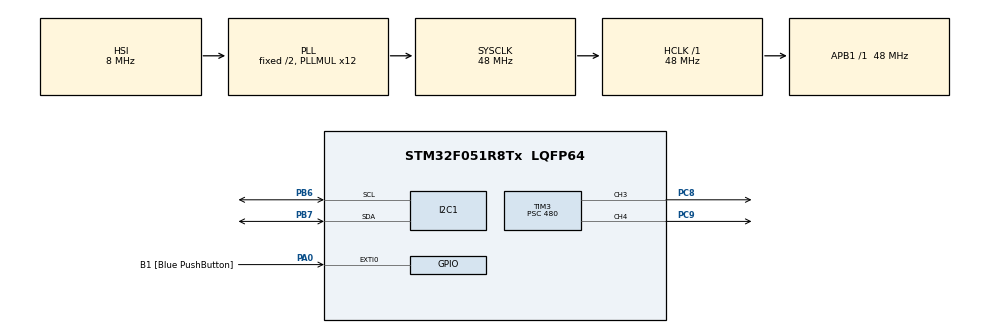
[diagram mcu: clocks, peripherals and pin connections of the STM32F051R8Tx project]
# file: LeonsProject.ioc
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Mcu.Family=STM32F0
Mcu.Name=STM32F051R8Tx
Mcu.Package=LQFP64
NVIC.EXTI0_1_IRQn=true\:0\:0\:false\:false\:true\:true\:true\:true
NVIC.I2C1_IRQn=true\:0\:0\:false\:false\:true\:true\:true\:true
NVIC.TIM14_IRQn=true\:0\:0\:false\:false\:true\:true\:true\:true
NVIC.TIM2_IRQn=true\:0\:0\:false\:false\:true\:true\:true\:true
PA0.GPIO_Label=B1 [Blue PushButton]
PA0.GPIO_ModeDefaultEXTI=GPIO_MODE_IT_RISING
PA0.Signal=GPXTI0
PA14.GPIO_Label=SWCLK
PA14.Signal=SYS_SWCLK
PB6.Mode=I2C
PB6.Signal=I2C1_SCL
PB7.Mode=I2C
PB7.Signal=I2C1_SDA
PC8.Signal=S_TIM3_CH3
PC9.Signal=S_TIM3_CH4
ProjectManager.HeapSize=0x200
ProjectManager.StackSize=0x400
ProjectManager.TargetToolchain=STM32CubeIDE
RCC.AHBFreq_Value=48000000
RCC.APB1Freq_Value=48000000
RCC.APB1TimFreq_Value=48000000
RCC.HCLKFreq_Value=48000000
RCC.PLLMUL=RCC_PLL_MUL12
RCC.SYSCLKFreq_VALUE=48000000
RCC.SYSCLKSource=RCC_SYSCLKSOURCE_PLLCLK
SH.S_TIM3_CH3.0=TIM3_CH3,PWM Generation3 CH3
SH.S_TIM3_CH4.0=TIM3_CH4,PWM Generation4 CH4
TIM14.Period=40
TIM14.Prescaler=48000
TIM2.Channel-Output\ Compare1\ No\ Output=TIM_CHANNEL_1
TIM2.Period=500
TIM2.Prescaler=48000
TIM3.Channel-PWM\ Generation3\ CH3=TIM_CHANNEL_3
TIM3.Channel-PWM\ Generation4\ CH4=TIM_CHANNEL_4
TIM3.Period=1000
TIM3.Prescaler=480
VP_TIM14_VS_ClockSourceINT.Mode=Enable_Timer
VP_TIM2_VS_ClockSourceINT.Mode=Internal
VP_TIM2_VS_no_output1.Mode=Output Compare1 No Output
VP_TIM3_VS_ClockSourceINT.Mode=Internal
board=STM32F0DISCOVERY

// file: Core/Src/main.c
/* USER CODE BEGIN Header */
/**
  ******************************************************************************
  * @file           : main.c
  * @brief          : Main program body
  ******************************************************************************
  * @attention
  *
  * Copyright (c) 2022 STMicroelectronics.
  * All rights reserved.
  *
  * This software is licensed under terms that can be found in the LICENSE file
  * in the root directory of this software component.
  * If no LICENSE file comes with this software, it is provided AS-IS.
  *
  ******************************************************************************
  */
/* USER CODE END Header */
#include "main.h"

/* USER CODE BEGIN Includes */
#include "math.h"
#include "stdio.h"
#include "Sensor_comm.h"
/* USER CODE END Includes */

 I2C_HandleTypeDef hi2c1;

TIM_HandleTypeDef htim2;
TIM_HandleTypeDef htim3;
TIM_HandleTypeDef htim14;

/* USER CODE BEGIN PV */
int16_t Gyro_rawData[3];
int16_t Mag_rawData[3];
//int16_t Mag_rawRefData[3];

DATA_TypeDef Gyro_Data;
DATA_TypeDef Mag_Data;
DATA_TypeDef Mag_RefData;

float phi_0;
float currentangle;
//int8_t arr_len = 10;
float angle_array [10];
float phi;
float phi_N;
int8_t LED_Flash_flag = 0b01;
int8_t Allow_Dim = 0b01;

/* USER CODE END PV */

void SystemClock_Config(void);
static void MX_GPIO_Init(void);
static void MX_I2C1_Init(void);
static void MX_TIM3_Init(void);
static void MX_TIM2_Init(void);
static void MX_TIM14_Init(void);

/* USER CODE BEGIN 0 */

int LED_PWM (DATA_TypeDef *Gyro_Data){

	int min_PWM = 0;
	int max_PWM = 300;
	int DutyCycle = fabs(Gyro_Data->z)/256*(max_PWM-min_PWM);
	float threshold = 0.8;
	int dir=0;

	HAL_TIM_PWM_Stop(&htim3, blue);
	HAL_TIM_PWM_Stop(&htim3, green);

	if (Gyro_Data->z < -threshold){ //Gyro_Data->z > 0 ==> Clockwise Rotation, LD4 (Blue LED) should be on
		  HAL_TIM_PWM_Start(&htim3, blue);
		__HAL_TIM_SET_COMPARE(&htim3, blue, DutyCycle);
		dir = 1;
	}
	else if (Gyro_Data->z > threshold){ //Gyro_Data->z < 0 ==> Counterclockwise Rotation, LD3 (Green LED) should be on
		  HAL_TIM_PWM_Start(&htim3, green);
		__HAL_TIM_SET_COMPARE(&htim3, green, DutyCycle);
		dir = -1;
	}
	return dir;
}

void LED_flash (float angle){
	static int flash_Dutycycle = 200;
	HAL_TIM_PWM_Stop(&htim3, blue);
	HAL_TIM_PWM_Stop(&htim3, green);

	if (angle > 0){
		HAL_TIM_PWM_Start(&htim3, blue); //Angle to zero < 0 ==> Clockwise Deviation from 0, LD4 (Blue LED) should flash
		__HAL_TIM_SET_COMPARE(&htim3, blue, flash_Dutycycle);
	}
	else if (angle < 0){
		HAL_TIM_PWM_Start(&htim3, green); //Angle to zero > 0 ==> Counterclockwise Deviation from 0, LD4 (Green LED) should flash
		__HAL_TIM_SET_COMPARE(&htim3, green, flash_Dutycycle);
	}
}

void HAL_GPIO_EXTI_Callback(uint16_t GPIO_Pin){ // This interrupt handles the push of the blue button
	Mag_RefData=Mag_Data;
	phi_0 = atan2(Mag_RefData.y, Mag_RefData.x)*180/M_PI;
}

void sensor_routine(void){

	read_Sensor_data(Gyro_rawData, GYRO_DEVADDR, Gyro_MSB_X);
	read_Sensor_data(Mag_rawData, MAGACC_DEVADDR, MAG_MSB_X);
	convert_Sensor_Data(Gyro_rawData, &Gyro_Data, Gyro_conv_factor);
	convert_Sensor_Data(Mag_rawData, &Mag_Data, Mag_conv_factor);
	angle_array[0] = atan2(Mag_Data.y, Mag_Data.x)*180.0/M_PI;
}

void sensor_average (void){
	float total = 0;
	size_t arr_len = sizeof(angle_array)/sizeof(angle_array[0]);
	for (int k = arr_len; k > 0 ; k--){
		angle_array[k]=angle_array[k-1];
	}
	for (int i = 1; i < arr_len; i++) {
	    total += angle_array[i];
	}
	phi=total/(arr_len-1); // Averaging out the last 10 Sensor Angle values to reduce noise
}

/* USER CODE END 0 */

int main(void)
{

  /* MCU Configuration--------------------------------------------------------*/

  /* Reset of all peripherals, Initializes the Flash interface and the Systick. */
  HAL_Init();

  /* Configure the system clock */
  SystemClock_Config();

  /* Initialize all configured peripherals */
  MX_GPIO_Init();
  MX_I2C1_Init();
  MX_TIM3_Init();
  MX_TIM2_Init();
  MX_TIM14_Init();
  /* USER CODE BEGIN 2 */

  initialize_Sensors();

  /* USER CODE END 2 */

  /* Infinite loop */
  /* USER CODE BEGIN WHILE */

  HAL_TIM_OC_Start_IT(&htim14, TIM_CHANNEL_1);
  HAL_TIM_OC_Start_IT(&htim2, TIM_CHANNEL_1);

  while (1)
  {
    /* USER CODE END WHILE */

    /* USER CODE BEGIN 3 */
		currentangle = atan2(Mag_Data.y, Mag_Data.x)*180.0/M_PI;
		phi_N = phi - phi_0;
		if (LED_Flash_flag == 0b01 && fabs(phi_N)<5 && fabs(phi_N)>.2){
			LED_flash(phi_N);
		} else if (fabs(phi_N)>5){
			  LED_PWM(&Gyro_Data);
		}
  }
  /* USER CODE END 3 */
}

void SystemClock_Config(void)
{
  RCC_OscInitTypeDef RCC_OscInitStruct = {0};
  RCC_ClkInitTypeDef RCC_ClkInitStruct = {0};
  RCC_PeriphCLKInitTypeDef PeriphClkInit = {0};

  /** Initializes the RCC Oscillators according to the specified parameters
  * in the RCC_OscInitTypeDef structure.
  */
  RCC_OscInitStruct.OscillatorType = RCC_OSCILLATORTYPE_HSI;
  RCC_OscInitStruct.HSIState = RCC_HSI_ON;
  RCC_OscInitStruct.HSICalibrationValue = RCC_HSICALIBRATION_DEFAULT;
  RCC_OscInitStruct.PLL.PLLState = RCC_PLL_ON;
  RCC_OscInitStruct.PLL.PLLSource = RCC_PLLSOURCE_HSI;
  RCC_OscInitStruct.PLL.PLLMUL = RCC_PLL_MUL12;
  RCC_OscInitStruct.PLL.PREDIV = RCC_PREDIV_DIV1;
  if (HAL_RCC_OscConfig(&RCC_OscInitStruct) != HAL_OK)
  {
    Error_Handler();
  }

  /** Initializes the CPU, AHB and APB buses clocks
  */
  RCC_ClkInitStruct.ClockType = RCC_CLOCKTYPE_HCLK|RCC_CLOCKTYPE_SYSCLK
                              |RCC_CLOCKTYPE_PCLK1;
  RCC_ClkInitStruct.SYSCLKSource = RCC_SYSCLKSOURCE_PLLCLK;
  RCC_ClkInitStruct.AHBCLKDivider = RCC_SYSCLK_DIV1;
  RCC_ClkInitStruct.APB1CLKDivider = RCC_HCLK_DIV1;

  if (HAL_RCC_ClockConfig(&RCC_ClkInitStruct, FLASH_LATENCY_1) != HAL_OK)
  {
    Error_Handler();
  }
  PeriphClkInit.PeriphClockSelection = RCC_PERIPHCLK_I2C1;
  PeriphClkInit.I2c1ClockSelection = RCC_I2C1CLKSOURCE_HSI;
  if (HAL_RCCEx_PeriphCLKConfig(&PeriphClkInit) != HAL_OK)
  {
    Error_Handler();
  }
}

static void MX_I2C1_Init(void)
{

  hi2c1.Instance = I2C1;
  hi2c1.Init.Timing = 0x2000090E;
  hi2c1.Init.OwnAddress1 = 0;
  hi2c1.Init.AddressingMode = I2C_ADDRESSINGMODE_7BIT;
  hi2c1.Init.DualAddressMode = I2C_DUALADDRESS_DISABLE;
  hi2c1.Init.OwnAddress2 = 0;
  hi2c1.Init.OwnAddress2Masks = I2C_OA2_NOMASK;
  hi2c1.Init.GeneralCallMode = I2C_GENERALCALL_DISABLE;
  hi2c1.Init.NoStretchMode = I2C_NOSTRETCH_DISABLE;
  if (HAL_I2C_Init(&hi2c1) != HAL_OK)
  {
    Error_Handler();
  }

  /** Configure Analogue filter
  */
  if (HAL_I2CEx_ConfigAnalogFilter(&hi2c1, I2C_ANALOGFILTER_ENABLE) != HAL_OK)
  {
    Error_Handler();
  }

  /** Configure Digital filter
  */
  if (HAL_I2CEx_ConfigDigitalFilter(&hi2c1, 0) != HAL_OK)
  {
    Error_Handler();
  }

}

static void MX_TIM2_Init(void)
{

  TIM_ClockConfigTypeDef sClockSourceConfig = {0};
  TIM_MasterConfigTypeDef sMasterConfig = {0};
  TIM_OC_InitTypeDef sConfigOC = {0};

  htim2.Instance = TIM2;
  htim2.Init.Prescaler = 48000;
  htim2.Init.CounterMode = TIM_COUNTERMODE_UP;
  htim2.Init.Period = 500;
  htim2.Init.ClockDivision = TIM_CLOCKDIVISION_DIV1;
  htim2.Init.AutoReloadPreload = TIM_AUTORELOAD_PRELOAD_DISABLE;
  if (HAL_TIM_Base_Init(&htim2) != HAL_OK)
  {
    Error_Handler();
  }
  sClockSourceConfig.ClockSource = TIM_CLOCKSOURCE_INTERNAL;
  if (HAL_TIM_ConfigClockSource(&htim2, &sClockSourceConfig) != HAL_OK)
  {
    Error_Handler();
  }
  if (HAL_TIM_OC_Init(&htim2) != HAL_OK)
  {
    Error_Handler();
  }
  sMasterConfig.MasterOutputTrigger = TIM_TRGO_RESET;
  sMasterConfig.MasterSlaveMode = TIM_MASTERSLAVEMODE_DISABLE;
  if (HAL_TIMEx_MasterConfigSynchronization(&htim2, &sMasterConfig) != HAL_OK)
  {
    Error_Handler();
  }
  sConfigOC.OCMode = TIM_OCMODE_TIMING;
  sConfigOC.Pulse = 0;
  sConfigOC.OCPolarity = TIM_OCPOLARITY_HIGH;
  sConfigOC.OCFastMode = TIM_OCFAST_DISABLE;
  if (HAL_TIM_OC_ConfigChannel(&htim2, &sConfigOC, TIM_CHANNEL_1) != HAL_OK)
  {
    Error_Handler();
  }

}

static void MX_TIM3_Init(void)
{

  TIM_ClockConfigTypeDef sClockSourceConfig = {0};
  TIM_MasterConfigTypeDef sMasterConfig = {0};
  TIM_OC_InitTypeDef sConfigOC = {0};

  htim3.Instance = TIM3;
  htim3.Init.Prescaler = 480;
  htim3.Init.CounterMode = TIM_COUNTERMODE_UP;
  htim3.Init.Period = 1000;
  htim3.Init.ClockDivision = TIM_CLOCKDIVISION_DIV1;
  htim3.Init.AutoReloadPreload = TIM_AUTORELOAD_PRELOAD_DISABLE;
  if (HAL_TIM_Base_Init(&htim3) != HAL_OK)
  {
    Error_Handler();
  }
  sClockSourceConfig.ClockSource = TIM_CLOCKSOURCE_INTERNAL;
  if (HAL_TIM_ConfigClockSource(&htim3, &sClockSourceConfig) != HAL_OK)
  {
    Error_Handler();
  }
  if (HAL_TIM_PWM_Init(&htim3) != HAL_OK)
  {
    Error_Handler();
  }
  sMasterConfig.MasterOutputTrigger = TIM_TRGO_RESET;
  sMasterConfig.MasterSlaveMode = TIM_MASTERSLAVEMODE_DISABLE;
  if (HAL_TIMEx_MasterConfigSynchronization(&htim3, &sMasterConfig) != HAL_OK)
  {
    Error_Handler();
  }
  sConfigOC.OCMode = TIM_OCMODE_PWM1;
  sConfigOC.Pulse = 0;
  sConfigOC.OCPolarity = TIM_OCPOLARITY_HIGH;
  sConfigOC.OCFastMode = TIM_OCFAST_DISABLE;
  if (HAL_TIM_PWM_ConfigChannel(&htim3, &sConfigOC, TIM_CHANNEL_3) != HAL_OK)
  {
    Error_Handler();
  }
  if (HAL_TIM_PWM_ConfigChannel(&htim3, &sConfigOC, TIM_CHANNEL_4) != HAL_OK)
  {
    Error_Handler();
  }
  HAL_TIM_MspPostInit(&htim3);

}

static void MX_TIM14_Init(void)
{

  htim14.Instance = TIM14;
  htim14.Init.Prescaler = 48000;
  htim14.Init.CounterMode = TIM_COUNTERMODE_UP;
  htim14.Init.Period = 40;
  htim14.Init.ClockDivision = TIM_CLOCKDIVISION_DIV1;
  htim14.Init.AutoReloadPreload = TIM_AUTORELOAD_PRELOAD_DISABLE;
  if (HAL_TIM_Base_Init(&htim14) != HAL_OK)
  {
    Error_Handler();
  }

}

static void MX_GPIO_Init(void)
{
  GPIO_InitTypeDef GPIO_InitStruct = {0};

  /* GPIO Ports Clock Enable */
  __HAL_RCC_GPIOA_CLK_ENABLE();
  __HAL_RCC_GPIOC_CLK_ENABLE();
  __HAL_RCC_GPIOB_CLK_ENABLE();

  /*Configure GPIO pin : B1_Pin */
  GPIO_InitStruct.Pin = B1_Pin;
  GPIO_InitStruct.Mode = GPIO_MODE_IT_RISING;
  GPIO_InitStruct.Pull = GPIO_NOPULL;
  HAL_GPIO_Init(B1_GPIO_Port, &GPIO_InitStruct);

  /* EXTI interrupt init*/
  HAL_NVIC_SetPriority(EXTI0_1_IRQn, 0, 0);
  HAL_NVIC_EnableIRQ(EXTI0_1_IRQn);

}

void Error_Handler(void)
{
  __disable_irq();
  while (1)
  {
  }
}
